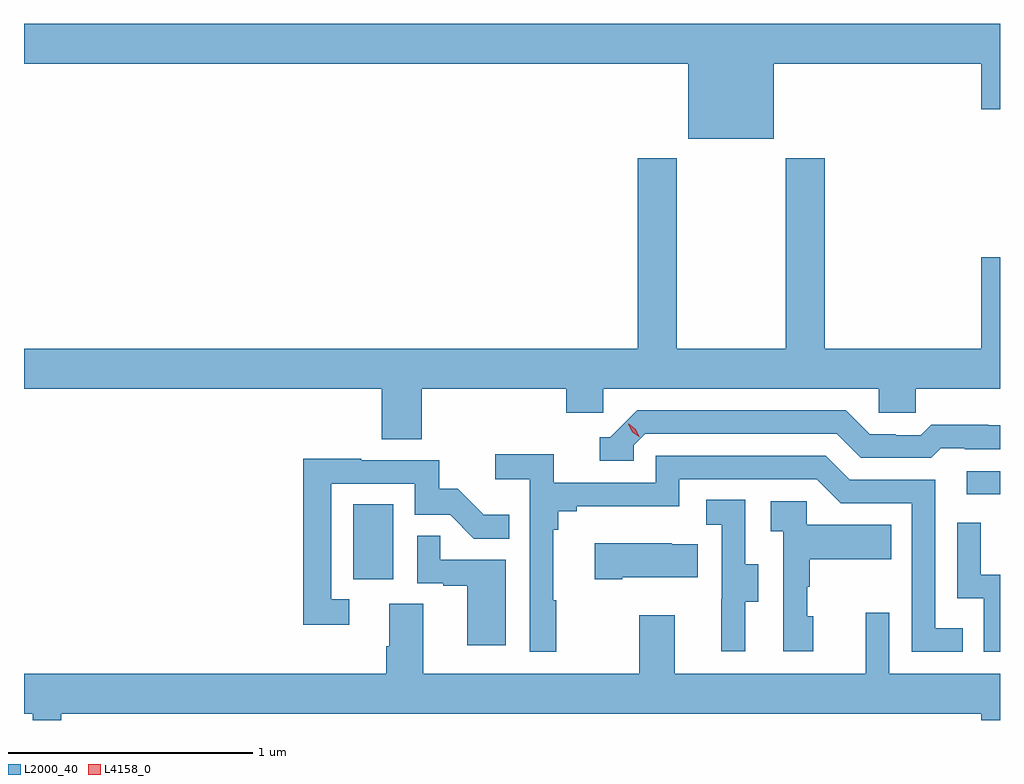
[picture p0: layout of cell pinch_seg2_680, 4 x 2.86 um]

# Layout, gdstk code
import gdstk
lib = gdstk.Library(unit=1e-6, precision=1e-09)
def R(c, l, rs):  # rectangles x0, y0, x1, y1
    for r in rs: c.add(gdstk.rectangle(r[:2], r[2:], *l))
def P(c, l, *ps):  # polygons
    for p in ps: c.add(gdstk.Polygon(p, *l))
L2000_40 = (2000, 40)
L4158_0 = (4158, 0)

pinch_seg2_680 = lib.new_cell('pinch_seg2_680')
R(pinch_seg2_680, L2000_40, [(1097.498,598.902,1097.662,599.209), (1100.013,599.25,1100.149,599.346)])
P(pinch_seg2_680, L2000_40, [(1099.222,601.016),(1100.072,601.016),(1100.072,600.828),(1100.149,600.828),(1100.149,601.18),(1096.149,601.18),(1096.149,601.016),(1098.872,601.016),(1098.872,600.707),(1099.222,600.707)],
  [(1097.78,599.684),(1098.371,599.684),(1098.371,599.586),(1098.522,599.586),(1098.522,599.684),(1099.653,599.684),(1099.653,599.586),(1099.803,599.586),(1099.803,599.684),(1100.149,599.684),(1100.149,600.223),(1100.072,600.223),(1100.072,599.848),(1099.43,599.848),(1099.43,600.628),(1099.27,600.628),(1099.27,599.848),(1098.825,599.848),(1098.825,600.628),(1098.665,600.628),(1098.665,599.848),(1096.149,599.848),(1096.149,599.684),(1097.615,599.684),(1097.615,599.476),(1097.78,599.476)],
  [(1098.648,599.451),(1098.696,599.499),(1099.479,599.499),(1099.578,599.4),(1099.867,599.4),(1099.906,599.439),(1100.005,599.439),(1100.005,599.436),(1100.149,599.436),(1100.149,599.533),(1100.1,599.533),(1100.1,599.536),(1099.867,599.536),(1099.825,599.493),(1099.722,599.493),(1099.722,599.496),(1099.615,599.496),(1099.516,599.595),(1098.663,599.595),(1098.552,599.484),(1098.509,599.484),(1098.509,599.388),(1098.648,599.388)],
  [(1098.331,598.817),(1098.319,598.817),(1098.319,599.105),(1098.338,599.105),(1098.338,599.182),(1098.415,599.182),(1098.415,599.201),(1098.834,599.201),(1098.834,599.313),(1099.398,599.313),(1099.497,599.214),(1099.788,599.214),(1099.788,598.605),(1099.997,598.605),(1099.997,598.701),(1099.884,598.701),(1099.884,599.31),(1099.534,599.31),(1099.435,599.409),(1098.738,599.409),(1098.738,599.298),(1098.32,599.298),(1098.32,599.414),(1098.081,599.414),(1098.081,599.312),(1098.222,599.312),(1098.222,598.605),(1098.331,598.605)],
  [(1097.482,598.821),(1097.409,598.821),(1097.409,599.295),(1097.751,599.295),(1097.751,599.166),(1097.895,599.166),(1097.993,599.068),(1098.137,599.068),(1098.137,599.167),(1098.033,599.167),(1097.926,599.274),(1097.85,599.274),(1097.85,599.391),(1097.531,599.391),(1097.531,599.396),(1097.293,599.396),(1097.293,598.716),(1097.482,598.716)],
  [(1099.105,598.81),(1099.159,598.81),(1099.159,598.965),(1099.104,598.965),(1099.104,599.228),(1098.945,599.228),(1098.945,599.125),(1099.008,599.125),(1099.008,598.821),(1099.007,598.821),(1099.007,598.608),(1099.105,598.608)],
  [(1099.384,598.752),(1099.359,598.752),(1099.359,598.871),(1099.369,598.871),(1099.369,598.985),(1099.703,598.985),(1099.703,599.125),(1099.356,599.125),(1099.356,599.223),(1099.209,599.223),(1099.209,599.099),(1099.26,599.099),(1099.26,598.608),(1099.384,598.608)],
  [(1100.149,598.922),(1100.07,598.922),(1100.07,599.134),(1099.974,599.134),(1099.974,598.824),(1100.082,598.824),(1100.082,598.605),(1100.149,598.605)],
  [(1098.124,598.983),(1097.855,598.983),(1097.855,599.081),(1097.76,599.081),(1097.76,598.887),(1097.867,598.887),(1097.867,598.875),(1097.966,598.875),(1097.966,598.632),(1098.124,598.632)],
  [(1098.601,598.91),(1098.911,598.91),(1098.911,599.047),(1098.803,599.047),(1098.803,599.05),(1098.489,599.05),(1098.489,598.903),(1098.601,598.903)],
  [(1096.301,598.352),(1100.072,598.352),(1100.072,598.324),(1100.149,598.324),(1100.149,598.516),(1099.695,598.516),(1099.695,598.765),(1099.598,598.765),(1099.598,598.516),(1098.817,598.516),(1098.817,598.756),(1098.67,598.756),(1098.67,598.516),(1097.785,598.516),(1097.785,598.802),(1097.645,598.802),(1097.645,598.628),(1097.633,598.628),(1097.633,598.516),(1096.149,598.516),(1096.149,598.352),(1096.185,598.352),(1096.185,598.324),(1096.301,598.324)])
P(pinch_seg2_680, L4158_0, [(1098.672,599.485),(1098.642,599.505),(1098.626,599.538),(1098.626,599.539),(1098.627,599.539),(1098.657,599.518),(1098.672,599.485),(1098.672,599.485)])

lib.write_gds('pinch_seg2_680.gds')
